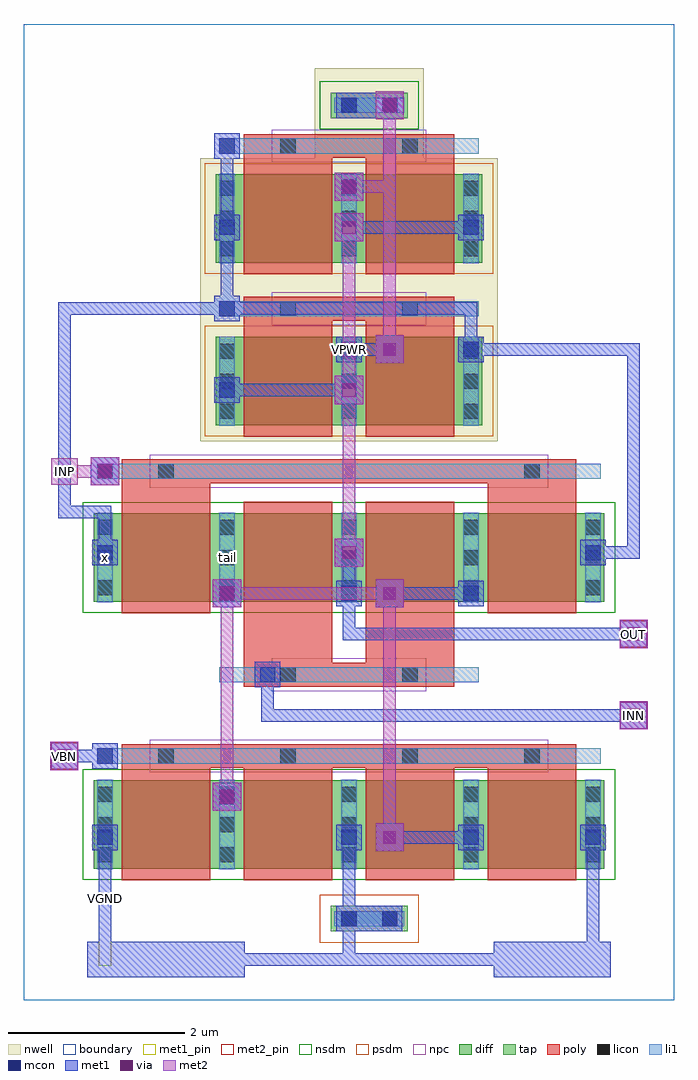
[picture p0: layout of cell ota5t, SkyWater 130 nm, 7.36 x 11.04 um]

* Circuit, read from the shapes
.subckt ota5t INN INP OUT VBN VGND VPWR tail x
XM1 tail VBN VGND VGND sky130_fd_pr__nfet_01v8 w=1 l=1 m=4
XM2 tail INP x VGND sky130_fd_pr__nfet_01v8 w=1 l=1 m=2
XM3 OUT INN tail VGND sky130_fd_pr__nfet_01v8 w=1 l=1 m=2
XM4 VPWR x OUT VPWR sky130_fd_pr__pfet_01v8 w=1 l=1 m=2
XM5 VPWR x x VPWR sky130_fd_pr__pfet_01v8 w=1 l=1 m=2
.ends

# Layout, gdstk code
import gdstk
lib = gdstk.Library(unit=1e-6, precision=1e-09)
def R(c, l, rs):  # rectangles x0, y0, x1, y1
    for r in rs: c.add(gdstk.rectangle(r[:2], r[2:], *l))
def A(c, l, x, y, w, h, nx, ny, dx, dy):  # array of equal rectangles
    R(c, l, [(x+i*dx, y+j*dy, x+i*dx+w, y+j*dy+h) for i in range(nx) for j in range(ny)])
nwell = (64, 20)
diff = (65, 20)
tap = (65, 44)
poly = (66, 20)
licon = (66, 44)
li1 = (67, 20)
mcon = (67, 44)
met1_pin = (68, 16)
met1 = (68, 20)
via = (68, 44)
met2_pin = (69, 16)
met2 = (69, 20)
nsdm = (93, 44)
psdm = (94, 20)
npc = (95, 20)
boundary = (235, 4)

ota5t = lib.new_cell('ota5t')
R(ota5t, nwell, [(1.995,6.32,5.365,9.52), (3.295,9.52,4.525,10.54)])
R(ota5t, diff, [(0.795,1.485,6.565,2.485), (0.795,4.505,6.565,5.505), (2.175,6.5,5.185,7.5), (2.175,8.34,5.185,9.34)])
R(ota5t, tap, [(3.475,0.775,4.345,1.065), (3.475,9.975,4.345,10.265)])
A(ota5t, poly, 1.11, 1.355, 1, 1.405, 4, 1, 1.38, 0)
R(ota5t, poly, [(1.11,2.625,6.25,2.895), (2.49,3.545,4.87,3.815), (2.49,3.68,3.49,5.635), (3.87,3.68,4.87,5.635), (1.11,4.375,2.11,5.98), (5.25,4.375,6.25,5.98), (1.11,5.845,6.25,6.115), (2.49,6.37,3.49,7.82), (3.87,6.37,4.87,7.82), (2.49,7.685,4.87,7.955), (2.49,8.21,3.49,9.66), (3.87,8.21,4.87,9.66), (2.49,9.525,4.87,9.795)])
A(ota5t, licon, 0.835, 1.56, 0.17, 0.17, 5, 3, 1.38, 0.34)
A(ota5t, licon, 1.525, 2.675, 0.17, 0.17, 4, 1, 1.38, 0)
A(ota5t, licon, 0.835, 4.58, 0.17, 0.17, 5, 3, 1.38, 0.34)
A(ota5t, licon, 2.215, 6.575, 0.17, 0.17, 3, 3, 1.38, 0.34)
A(ota5t, licon, 2.215, 8.415, 0.17, 0.17, 3, 3, 1.38, 0.34)
R(ota5t, licon, [(3.595,0.835,3.765,1.005), (4.055,0.835,4.225,1.005), (2.905,3.595,3.075,3.765), (4.285,3.595,4.455,3.765), (1.525,5.895,1.695,6.065), (5.665,5.895,5.835,6.065), (2.905,7.735,3.075,7.905), (4.285,7.735,4.455,7.905), (2.905,9.575,3.075,9.745), (4.285,9.575,4.455,9.745), (3.595,10.035,3.765,10.205), (4.055,10.035,4.225,10.205)])
A(ota5t, li1, 0.835, 1.48, 0.17, 1.01, 5, 2, 1.38, 3.02)
A(ota5t, li1, 2.215, 6.495, 0.17, 1.01, 3, 2, 1.38, 1.84)
R(ota5t, li1, [(3.515,0.835,4.305,1.005), (0.835,2.675,6.525,2.845), (2.215,3.595,5.145,3.765), (0.835,5.895,6.525,6.065), (2.215,7.735,5.145,7.905), (2.215,9.575,5.145,9.745), (3.515,10.035,4.305,10.205)])
A(ota5t, mcon, 3.595, 1.755, 0.17, 0.17, 3, 1, 1.38, 0)
A(ota5t, mcon, 2.215, 4.515, 0.17, 0.17, 3, 1, 1.38, 0)
A(ota5t, mcon, 2.215, 6.815, 0.17, 0.17, 1, 4, 0, 0.92)
R(ota5t, mcon, [(3.595,0.835,3.765,1.005), (4.055,0.835,4.225,1.005), (0.835,1.755,1.005,1.925), (2.215,2.215,2.385,2.385), (0.835,2.675,1.005,2.845), (2.675,3.595,2.845,3.765), (0.835,4.975,1.005,5.145), (6.355,4.975,6.525,5.145), (0.835,5.895,1.005,6.065), (3.595,7.275,3.765,7.445), (4.975,7.275,5.145,7.445), (4.975,8.655,5.145,8.825), (3.595,9.115,3.765,9.285), (3.595,10.035,3.765,10.205), (4.055,10.035,4.225,10.205)])
R(ota5t, met1_pin, [(0.85,0.39,0.99,1.91), (3.535,7.215,3.825,7.505)])
A(ota5t, met1, 3.98, 1.68, 0.32, 0.32, 1, 4, 0, 2.76)
A(ota5t, met1, 3.535, 1.695, 0.29, 0.29, 3, 1, 1.38, 0)
A(ota5t, met1, 2.155, 4.455, 0.29, 0.29, 3, 1, 1.38, 0)
A(ota5t, met1, 3.52, 4.9, 0.32, 0.32, 1, 3, 0, 1.84)
A(ota5t, met1, 2.155, 6.755, 0.29, 0.29, 1, 4, 0, 0.92)
R(ota5t, met1, [(0.72,0.26,2.5,0.66), (5.32,0.26,6.64,0.66), (0.85,0.39,0.99,1.91), (2.23,0.39,3.75,0.53), (3.61,0.39,3.75,0.99), (3.61,0.39,5.59,0.53), (6.37,0.39,6.51,1.91), (3.535,0.775,4.285,1.065), (3.61,0.85,3.75,0.99), (3.61,0.85,3.75,1.91), (0.775,1.695,1.065,1.985), (4.07,1.77,5.13,1.91), (2.14,2.14,2.46,2.46), (2.155,2.155,2.445,2.445), (0.3,2.6,0.62,2.92), (0.775,2.615,1.065,2.905), (0.39,2.69,0.99,2.83), (6.74,3.06,7.06,3.38), (2.69,3.15,2.83,3.75), (2.69,3.15,6.97,3.29), (2.615,3.535,2.905,3.825), (6.74,3.98,7.06,4.3), (3.61,4.07,3.75,4.67), (3.61,4.07,6.97,4.21), (2.14,4.44,2.46,4.76), (3.61,4.53,3.75,5.13), (4.07,4.53,5.13,4.67), (0.775,4.915,1.065,5.205), (6.295,4.915,6.585,5.205), (0.85,4.99,0.99,5.59), (6.37,4.99,6.97,5.13), (6.83,4.99,6.97,7.43), (0.39,5.45,0.99,5.59), (0.39,5.45,0.53,7.89), (0.76,5.82,1.08,6.14), (0.775,5.835,1.065,6.125), (2.23,6.83,3.75,6.97), (3.535,7.215,3.825,7.505), (4.915,7.215,5.205,7.505), (3.61,7.29,4.21,7.43), (4.99,7.29,5.13,7.89), (4.99,7.29,6.97,7.43), (0.39,7.75,2.37,7.89), (2.23,7.75,2.37,8.81), (2.23,7.75,5.13,7.89), (4.915,8.595,5.205,8.885), (2.23,8.67,2.37,9.73), (3.61,8.67,5.13,8.81), (3.52,9.04,3.84,9.36), (3.535,9.055,3.825,9.345), (3.535,9.975,4.285,10.265), (4.07,10.05,4.21,10.19)])
A(ota5t, via, 4.065, 1.765, 0.15, 0.15, 1, 4, 0, 2.76)
A(ota5t, via, 3.605, 4.985, 0.15, 0.15, 1, 3, 0, 1.84)
R(ota5t, via, [(2.225,2.225,2.375,2.375), (0.385,2.685,0.535,2.835), (6.825,3.145,6.975,3.295), (6.825,4.065,6.975,4.215), (2.225,4.525,2.375,4.675), (0.845,5.905,0.995,6.055), (3.605,9.125,3.755,9.275)])
R(ota5t, met2_pin, [(0.31,2.61,0.61,2.91), (6.75,3.07,7.05,3.37), (6.75,3.99,7.05,4.29), (0.31,5.83,0.61,6.13)])
A(ota5t, met2, 3.98, 1.68, 0.32, 0.32, 1, 4, 0, 2.76)
A(ota5t, met2, 3.52, 4.9, 0.32, 0.32, 1, 3, 0, 1.84)
R(ota5t, met2, [(4.07,1.77,4.21,4.67), (2.14,2.14,2.46,2.46), (2.23,2.23,2.37,4.67), (0.3,2.6,0.62,2.92), (0.31,2.61,0.61,2.91), (0.39,2.69,0.53,2.83), (6.74,3.06,7.06,3.38), (6.75,3.07,7.05,3.37), (6.83,3.15,6.97,3.29), (6.74,3.98,7.06,4.3), (6.75,3.99,7.05,4.29), (6.83,4.07,6.97,4.21), (2.14,4.44,2.46,4.76), (2.23,4.53,4.21,4.67), (3.61,4.99,3.75,6.97), (0.76,5.82,1.08,6.14), (0.31,5.83,0.61,6.13), (0.39,5.91,0.53,6.05), (0.39,5.91,0.99,6.05), (3.61,6.83,3.75,8.81), (4.07,7.29,4.21,9.27), (3.52,9.04,3.84,9.36), (3.61,9.13,4.21,9.27), (4.07,9.13,4.21,10.19)])
R(ota5t, nsdm, [(0.67,1.36,6.69,2.61), (0.67,4.38,6.69,5.63), (3.35,9.85,4.47,10.39)])
R(ota5t, psdm, [(3.35,0.65,4.47,1.19), (2.05,6.375,5.31,7.625), (2.05,8.215,5.31,9.465)])
R(ota5t, npc, [(1.425,2.575,5.935,2.945), (2.805,3.495,4.555,3.865), (1.425,5.795,5.935,6.165), (2.805,7.635,4.555,8.005), (2.805,9.475,4.555,9.845)])
R(ota5t, boundary, [(0,0,7.36,11.04)])
ota5t.add(gdstk.Label('x', (0.92,5.005), layer=67, texttype=5))
ota5t.add(gdstk.Label('tail', (2.3,5.005), layer=67, texttype=5))
ota5t.add(gdstk.Label('VPWR', (3.68,7.36), layer=68, texttype=5))
ota5t.add(gdstk.Label('VGND', (0.92,1.15), layer=68, texttype=5))
ota5t.add(gdstk.Label('INP', (0.46,5.98), layer=69, texttype=5))
ota5t.add(gdstk.Label('INN', (6.9,3.22), layer=69, texttype=5))
ota5t.add(gdstk.Label('VBN', (0.46,2.76), layer=69, texttype=5))
ota5t.add(gdstk.Label('OUT', (6.9,4.14), layer=69, texttype=5))
ota5t.add(gdstk.Label('VPWR', (3.68,7.36), layer=68, texttype=16))
ota5t.add(gdstk.Label('VGND', (0.92,1.15), layer=68, texttype=16))
ota5t.add(gdstk.Label('INP', (0.46,5.98), layer=69, texttype=16))
ota5t.add(gdstk.Label('INN', (6.9,3.22), layer=69, texttype=16))
ota5t.add(gdstk.Label('VBN', (0.46,2.76), layer=69, texttype=16))
ota5t.add(gdstk.Label('OUT', (6.9,4.14), layer=69, texttype=16))

lib.write_gds('ota5t.gds')
